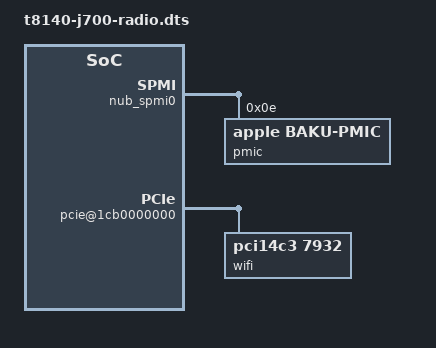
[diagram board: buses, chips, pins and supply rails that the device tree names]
// SPDX-License-Identifier: GPL-2.0+ OR MIT
/*
 * MacBook Neo (J700) with the MT7932 radio described statically.
 *
 * Same content as drivers/of/j700_radio.dtso, folded into the board tree so a
 * loader that boots Linux directly (no runtime overlay) gets working Wi-Fi.
 * local-mac-address is per machine; no wifi0 alias is added so the in-kernel
 * j700_radio overlay driver stays inert.
 */
#include "t8140-j700.dts"

&{/soc} {
	piodma_radio: piodma@390030000 {
		compatible = "apple,t8140-pcie-piodma";
		reg = <0x3 0x90030000 0x0 0x4000>,
		      <0x3 0x90034000 0x0 0x4000>,
		      <0x3 0x90038000 0x0 0x4000>;
		reg-names = "engine", "irq-aggregator", "fabric";
		interrupt-parent = <&aic>;
		interrupts = <AIC_IRQ 0x4b7 IRQ_TYPE_LEVEL_HIGH>;
		iommus = <&{/soc/iommu@390000000} 17>;
		apple,iova-address-bits = <36>;
		apple,piodma-base-addresses = <0x1c 0xb0000000>, <0xb 0xc0000000>, <0xb 0x80000000>;
		apple,piodma-aperture-sizes = <0x0 0x10000000>, <0x0 0x20000000>, <0x0 0x40000000>;
	};
};

&{/soc/iommu@390000000} {
	#iommu-cells = <1>;
	apple,force-available;
};

&{/soc/pcie@1cb0000000} {
	iommu-map = <0x100 &{/soc/iommu@390000000} 0x1 0x1>,
		    <0x101 &{/soc/iommu@390000000} 0x2 0x1>;
	iommu-map-mask = <0xffff>;
	apple,valid-functions = <0x3>;
	apple,endpoint-iova-address-bits = <32>;
	apple,piodma = <&piodma_radio>;
	dma-coherent;

	pci@0,0 {
		wifi@0,0 {
			compatible = "pci14c3,7932";
			reg = <0x10000 0x0 0x0 0x0 0x0>;
			local-mac-address = [5c 13 ac 09 b2 49];
		};
	};
};

/*
 * PMU NVMEM (power-off and RTC). From this machine's ADT (evidence/adt/): pmu-main@E on nub-spmi0,
 * compatible "pmu,spmi"/"pmu,baku", info-leg_scrpad 0xf700, info-rtc 0xf802. Without shutdown_flag the
 * SMC restarts the machine after 'off1'; without rtc_offset there is no RTC. Not compile-tested in the
 * kernel tree yet; the same nodes are verified on hardware via kernel/dtb/*-pmu-rtc.dts (decompiled form).
 */
&{/soc} {
	nub_spmi0: spmi@308714000 {
		compatible = "apple,t8140-spmi", "apple,t8103-spmi";
		reg = <0x3 0x08714000 0x0 0x100>;
		#address-cells = <2>;
		#size-cells = <0>;
		#interrupt-cells = <2>;
		interrupt-controller;
		interrupt-parent = <&aic>;
		interrupts = <AIC_IRQ 487 IRQ_TYPE_LEVEL_HIGH>;
		power-domains = <&ps_nub_spmi0>;

		pmic@e {
			compatible = "apple,baku-pmic", "apple,spmi-nvmem";
			reg = <0xe SPMI_USID>;

			nvmem-layout {
				compatible = "fixed-layout";
				#address-cells = <1>;
				#size-cells = <1>;

				boot_stage: boot-stage@f701 { reg = <0xf701 0x1>; };
				boot_error_count: boot-error-count@f702,0 { reg = <0xf702 0x1>; bits = <0 4>; };
				panic_count: panic-count@f702,4 { reg = <0xf702 0x1>; bits = <4 4>; };
				shutdown_flag: shutdown-flag@f70f,3 { reg = <0xf70f 0x1>; bits = <3 1>; };
				/* macOS: legacy scratchpad +4, 64-bit seconds; 0xf802 is the 65536 Hz counter itself */
				rtc_offset: rtc-offset@f704 { reg = <0xf704 0x8>; };
			};
		};
	};
};

&{/soc/smc@30c600000} {
	reboot {
		nvmem-cells = <&shutdown_flag>, <&boot_stage>, <&boot_error_count>, <&panic_count>;
		nvmem-cell-names = "shutdown_flag", "boot_stage", "boot_error_count", "panic_count";
	};

	rtc {
		compatible = "apple,smc-rtc";
		nvmem-cells = <&rtc_offset>;
		nvmem-cell-names = "rtc_offset";
		apple,rtc-offset-seconds;
	};
};
